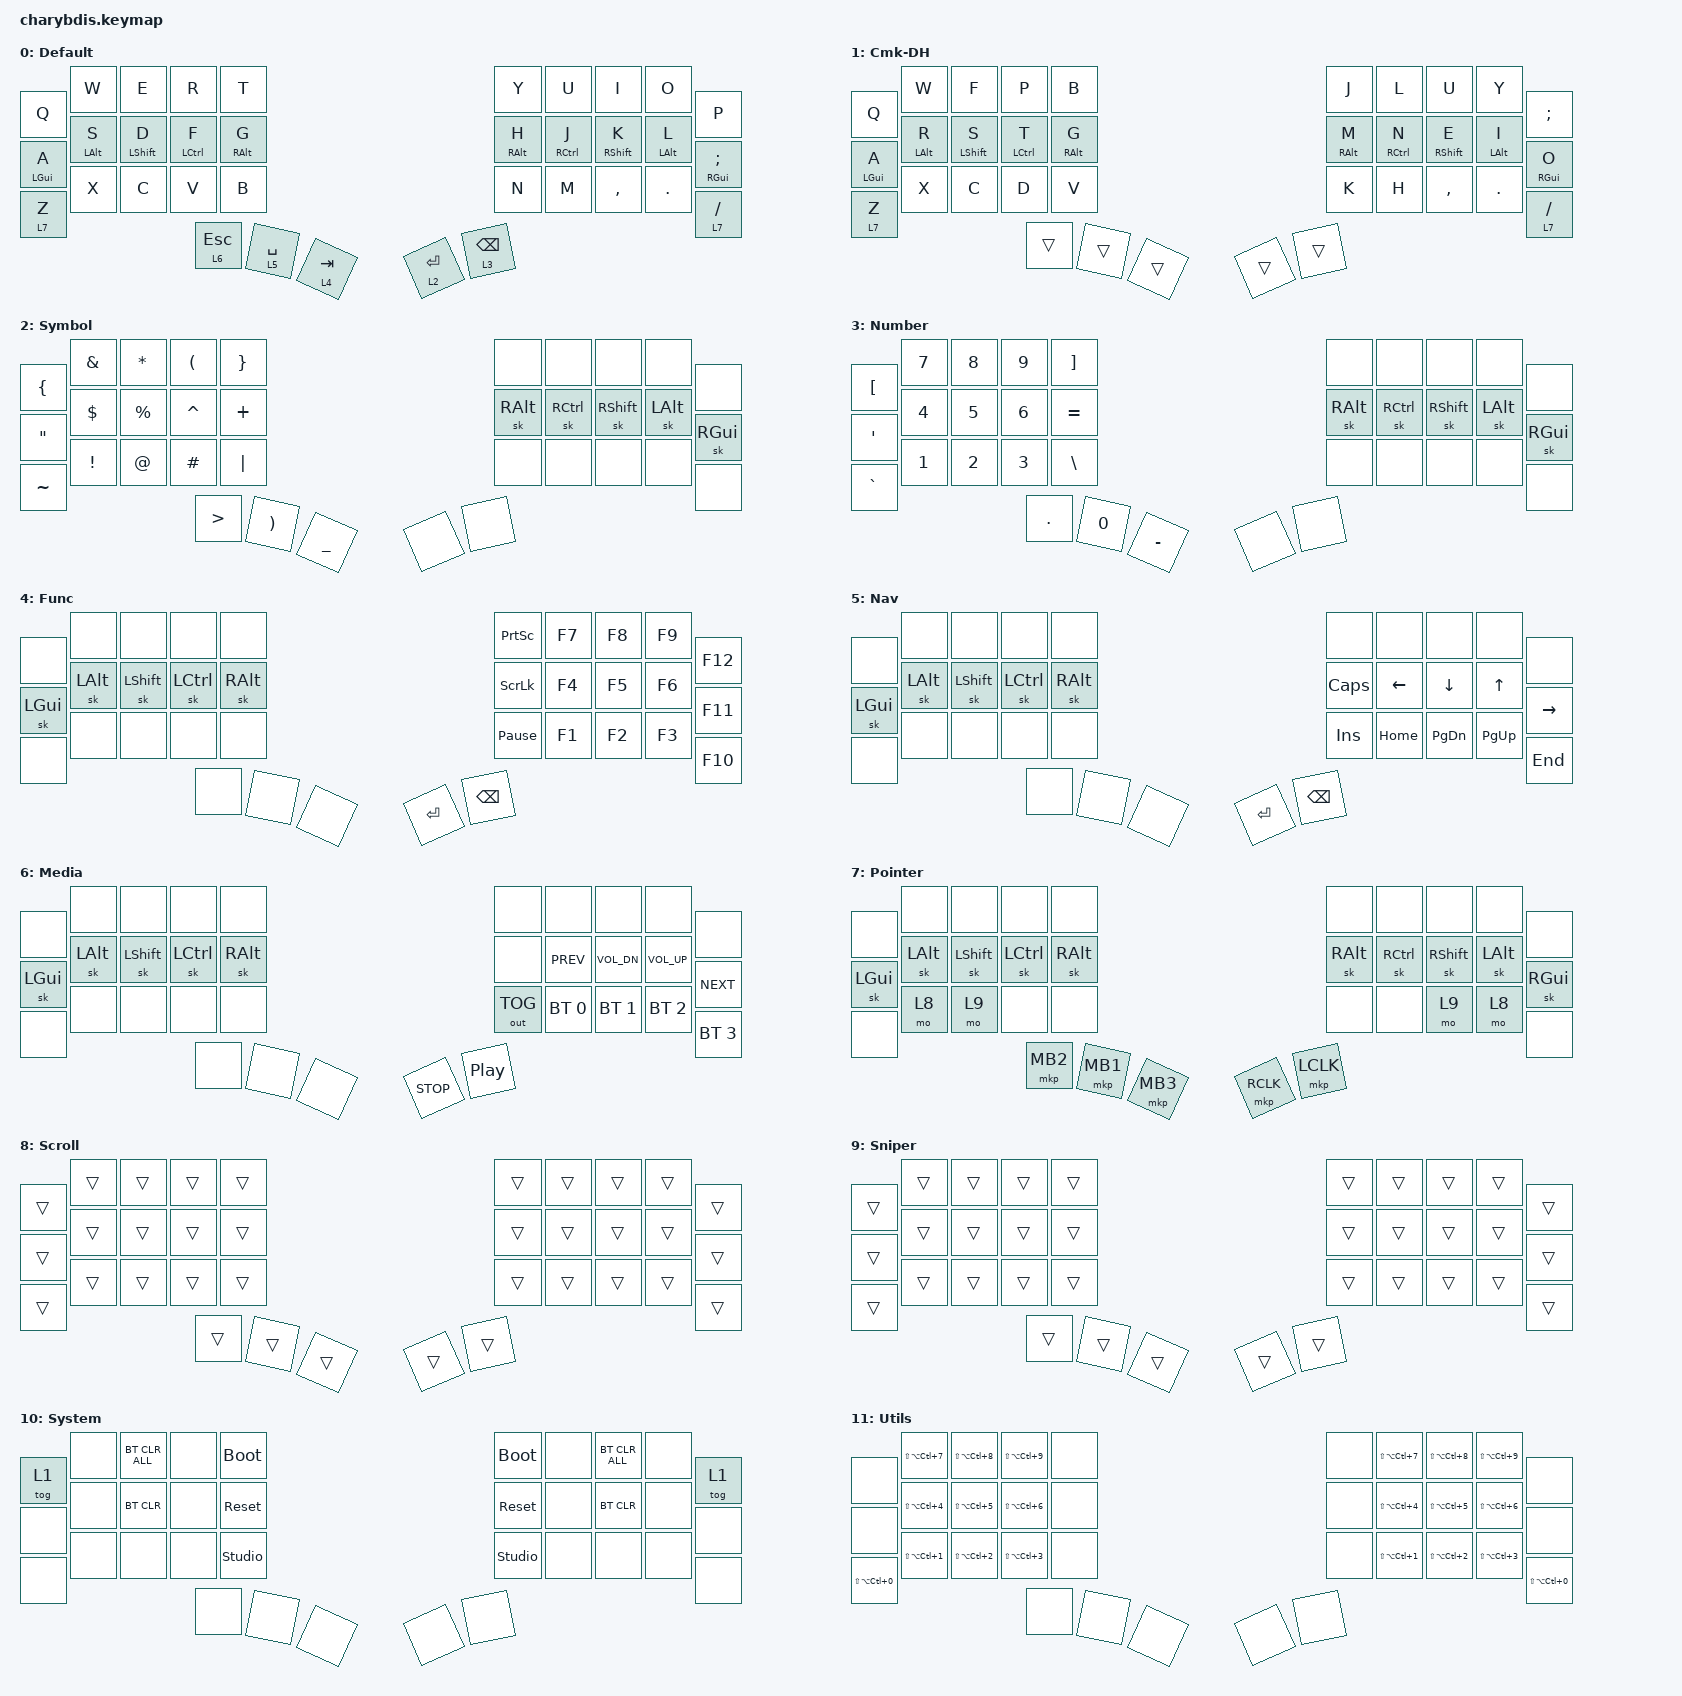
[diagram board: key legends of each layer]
#define ZMK_POINTING_DEFAULT_MOVE_VAL 1250
#define ZMK_POINTING_DEFAULT_SCRL_VAL 100
#define HT_PRIOR_IDLE 150
#define HT_TAPPING_TERM 280
#define HT_QUICK_TAP 175
#define KEYS_L_TOP  0  1  2  3  4
#define KEYS_R_TOP  5  6  7  8  9
#define KEYS_L_MID 10 11 12 13 14
#define KEYS_R_MID 15 16 17 18 19
#define KEYS_L_BTM 20 21 22 23 24
#define KEYS_R_BTM 25 26 27 28 29
#define KEYS_L_THUMB 30 31 32
#define KEYS_R_THUMB 33 34
#define KEYS_L KEYS_L_TOP KEYS_L_MID KEYS_L_BTM
#define KEYS_R KEYS_R_TOP KEYS_R_MID KEYS_R_BTM
#define KEYS_THUMBS KEYS_L_THUMB KEYS_R_THUMB

#include <behaviors.dtsi>
#include <dt-bindings/zmk/bt.h>
#include <dt-bindings/zmk/keys.h>
#include <dt-bindings/zmk/outputs.h>
#include <dt-bindings/zmk/pointing.h>

#include "utils/ruen.dtsi"

/ {
    behaviors {
        lt: layer_tap {
            compatible = "zmk,behavior-hold-tap";
            #binding-cells = <2>;
            flavor = "balanced";
            require-prior-idle-ms = <HT_PRIOR_IDLE>;
            tapping-term-ms = <HT_TAPPING_TERM>;
            quick-tap-ms = <HT_QUICK_TAP>;
            bindings = <&mo>, <&kp>;

            display-name = "Layer-Tap";
        };

        hm_l: homerow_mods_left {
            compatible = "zmk,behavior-hold-tap";
            #binding-cells = <2>;
            flavor = "balanced";
            require-prior-idle-ms = <HT_PRIOR_IDLE>;
            tapping-term-ms = <HT_TAPPING_TERM>;
            quick-tap-ms = <HT_QUICK_TAP>;
            bindings = <&kp>, <&kp>;

            hold-trigger-key-positions = <KEYS_R KEYS_THUMBS>;
            hold-trigger-on-release;
            display-name = "Mod-Tap Home-Mode Left";
        };

        hm_r: homerow_mods_right {
            compatible = "zmk,behavior-hold-tap";
            #binding-cells = <2>;
            flavor = "balanced";
            require-prior-idle-ms = <HT_PRIOR_IDLE>;
            tapping-term-ms = <HT_TAPPING_TERM>;
            quick-tap-ms = <HT_QUICK_TAP>;
            bindings = <&kp>, <&kp>;

            hold-trigger-key-positions = <KEYS_L KEYS_THUMBS>;
            hold-trigger-on-release;
            display-name = "Mod-Tap Home-Mode Right";
        };

        tog_on: toggle_layer_on_only {
            compatible = "zmk,behavior-toggle-layer";
            #binding-cells = <1>;
            display-name = "Toggle Layer On";
            toggle-mode = "on";
        };

        tog_off: toggle_layer_off_only {
            compatible = "zmk,behavior-toggle-layer";
            #binding-cells = <1>;
            display-name = "Toggle Layer Off";
            toggle-mode = "off";
        };

        bspc_del: backspace_delete {
            compatible = "zmk,behavior-mod-morph";
            #binding-cells = <0>;
            bindings = <&kp BSPC>, <&kp DEL>;
            mods = <(MOD_LSFT|MOD_RSFT)>;
            keep-mods = <(MOD_RSFT)>;

            display-name = "Backspace-Delete";
    };

        lt_bspc_del: layer_tap_backspace_delete {
            compatible = "zmk,behavior-hold-tap";
            #binding-cells = <2>;
            flavor = "balanced";
            require-prior-idle-ms = <HT_PRIOR_IDLE>;
            tapping-term-ms = <HT_TAPPING_TERM>;
            quick-tap-ms = <HT_QUICK_TAP>;
            bindings = <&mo>, <&bspc_del>;

            display-name = "Layer-Tap Backspace-Delete";
        };
    };

    combos {
        compatible = "zmk,combos";

        system_left {
            bindings = <&sl 10>;
            key-positions = <0 2 4>;
            layers = <0 1>;
        };

        system_right {
            bindings = <&sl 10>;
            key-positions = <5 7 9>;
            layers = <0 1>;
        };

        utils {
            bindings = <&sl 11>;
            key-positions = <0 9>;
            layers = <0 1>;
        };

        utils_l {
            bindings = <&sl 11>;
            key-positions = <0 10 20>;
            layers = <0 1>;
        };

        utils_r {
            bindings = <&sl 11>;
            key-positions = <9 19 29>;
            layers = <0 1>;
        };

        key_lbkt {
            bindings = <&kp LBKT>;
            key-positions = <2 3>;
            layers = <0 1>;
        };

        key_rbkt {
            bindings = <&kp RBKT>;
            key-positions = <6 7>;
            layers = <0 1>;
        };

        key_lbrc {
            bindings = <&kp LBRC>;
            key-positions = <22 23>;
            layers = <0 1>;
        };

        key_rbrc {
            bindings = <&kp RBRC>;
            key-positions = <26 27>;
            layers = <0 1>;
        };

        key_lt {
            bindings = <&kp LT>;
            key-positions = <1 2>;
            layers = <0 1>;
        };

        key_gt {
            bindings = <&kp GT>;
            key-positions = <7 8>;
            layers = <0 1>;
        };

        key_lpar {
            bindings = <&kp LPAR>;
            key-positions = <21 22>;
            layers = <0 1>;
        };

        key_rpar {
            bindings = <&kp RPAR>;
            key-positions = <27 28>;
            layers = <0 1>;
        };

        key_grave {
            bindings = <&kp GRAVE>;
            key-positions = <0 1>;
            layers = <0 1>;
        };

        key_bslh {
            bindings = <&kp BSLH>;
            key-positions = <8 9>;
            layers = <0 1>;
        };

        key_tilde {
            bindings = <&kp TILDE>;
            key-positions = <20 21>;
            layers = <0 1>;
        };

        key_pipe {
            bindings = <&kp PIPE>;
            key-positions = <28 29>;
            layers = <0 1>;
        };

        key_del {
            bindings = <&kp DEL>;
            key-positions = <33 34>;
            layers = <0 1>;
        };

        ruen_layer_en_qwerty {
            bindings = <&layer_en_qwerty>;
            key-positions = <4 5>;
            layers = <0 1>;
        };

        ruen_layer_en_colemak {
            bindings = <&layer_en_colemak>;
            key-positions = <14 15>;
            layers = <0 1>;
        };

        ruen_layer_ru_jcuken {
            bindings = <&layer_ru_jcuken>;
            key-positions = <24 25>;
            layers = <0 1>;
        };
    };

    keymap {
        compatible = "zmk,keymap";

        default_layer {
            display-name = "Default";
            bindings = <
&kp Q         &kp W         &kp E          &kp R          &kp T           &kp Y         &kp U          &kp I          &kp O         &kp P
&hm_l LGUI A  &hm_l LALT S  &hm_l LSHFT D  &hm_l LCTRL F  &hm_l RALT G    &hm_r RALT H  &hm_r RCTRL J  &hm_r RSHFT K  &hm_r LALT L  &hm_r RGUI SEMI
&lt 7 Z       &kp X         &kp C          &kp V          &kp B           &kp N         &kp M          &kp COMMA      &kp DOT       &lt 7 SLASH
                            &lt 6 ESC      &lt 5 SPACE    &lt 4 TAB       &lt 2 RET     &lt 3 BSPC
            >;
        };

        cmkdh_layer {
            display-name = "Cmk-DH";
            bindings = <
&kp Q         &kp W         &kp F          &kp P          &kp B           &kp J         &kp L          &kp U          &kp Y         &kp SEMI
&hm_l LGUI A  &hm_l LALT R  &hm_l LSHFT S  &hm_l LCTRL T  &hm_l RALT G    &hm_r RALT M  &hm_r RCTRL N  &hm_r RSHFT E  &hm_r LALT I  &hm_r RGUI O
&lt 7 Z       &kp X         &kp C          &kp D          &kp V           &kp K         &kp H          &kp COMMA      &kp DOT       &lt 7 SLASH
                            &trans         &trans         &trans          &trans        &trans
            >;
        };

        symbol_layer {
            display-name = "Symbol";
            bindings = <
&kp LBRC   &kp AMPS  &kp ASTRK  &kp LPAR   &kp RBRC     &none     &none      &none      &none     &none
&kp DQT    &kp DLLR  &kp PRCNT  &kp CARET  &kp PLUS     &sk RALT  &sk RCTRL  &sk RSHFT  &sk LALT  &sk RGUI
&kp TILDE  &kp EXCL  &kp AT     &kp HASH   &kp PIPE     &none     &none      &none      &none     &none
                     &kp GT     &kp RPAR   &kp UNDER    &none     &none
            >;
        };

        number_layer {
            display-name = "Number";
            bindings = <
&kp LBKT   &kp N7  &kp N8   &kp N9  &kp RBKT     &none     &none      &none      &none     &none
&kp SQT    &kp N4  &kp N5   &kp N6  &kp EQUAL    &sk RALT  &sk RCTRL  &sk RSHFT  &sk LALT  &sk RGUI
&kp GRAVE  &kp N1  &kp N2   &kp N3  &kp BSLH     &none     &none      &none      &none     &none
                   &kp DOT  &kp N0  &kp MINUS    &none     &none
            >;
        };

        func_layer {
            display-name = "Func";
            bindings = <
&none     &none     &none      &none      &none       &kp PSCRN        &kp F7         &kp F8  &kp F9  &kp F12
&sk LGUI  &sk LALT  &sk LSHFT  &sk LCTRL  &sk RALT    &kp SLCK         &kp F4         &kp F5  &kp F6  &kp F11
&none     &none     &none      &none      &none       &kp PAUSE_BREAK  &kp F1         &kp F2  &kp F3  &kp F10
                    &none      &none      &none       &kp RET          &kp BACKSPACE
            >;
        };

        nav_layer {
            display-name = "Nav";
            bindings = <
&none     &none     &none      &none      &none       &none     &none          &none      &none      &none
&sk LGUI  &sk LALT  &sk LSHFT  &sk LCTRL  &sk RALT    &kp CAPS  &kp LEFT       &kp DOWN   &kp UP     &kp RIGHT
&none     &none     &none      &none      &none       &kp INS   &kp HOME       &kp PG_DN  &kp PG_UP  &kp END
                    &none      &none      &none       &kp RET   &kp BACKSPACE
            >;
        };

        media_layer {
            display-name = "Media";
            bindings = <
&none     &none     &none      &none      &none       &none         &none         &none         &none         &none
&sk LGUI  &sk LALT  &sk LSHFT  &sk LCTRL  &sk RALT    &none         &kp C_PREV    &kp C_VOL_DN  &kp C_VOL_UP  &kp C_NEXT
&none     &none     &none      &none      &none       &out OUT_TOG  &bt BT_SEL 0  &bt BT_SEL 1  &bt BT_SEL 2  &bt BT_SEL 3
                    &none      &none      &none       &kp C_STOP    &kp C_PP
            >;
        };

        pointer_layer {
            display-name = "Pointer";
            bindings = <
&none     &none     &none      &none      &none       &none      &none      &none      &none     &none
&sk LGUI  &sk LALT  &sk LSHFT  &sk LCTRL  &sk RALT    &sk RALT   &sk RCTRL  &sk RSHFT  &sk LALT  &sk RGUI
&none     &mo 8     &mo 9      &none      &none       &none      &none      &mo 9      &mo 8     &none
                    &mkp MB2   &mkp MB1   &mkp MB3    &mkp RCLK  &mkp LCLK
            >;
        };

        scroll_layer {
            display-name = "Scroll";
            bindings = <
&trans  &trans  &trans  &trans  &trans    &trans  &trans  &trans  &trans  &trans
&trans  &trans  &trans  &trans  &trans    &trans  &trans  &trans  &trans  &trans
&trans  &trans  &trans  &trans  &trans    &trans  &trans  &trans  &trans  &trans
                &trans  &trans  &trans    &trans  &trans
            >;
        };

        sniper_layer {
            display-name = "Sniper";
            bindings = <
&trans  &trans  &trans  &trans  &trans    &trans  &trans  &trans  &trans  &trans
&trans  &trans  &trans  &trans  &trans    &trans  &trans  &trans  &trans  &trans
&trans  &trans  &trans  &trans  &trans    &trans  &trans  &trans  &trans  &trans
                &trans  &trans  &trans    &trans  &trans
            >;
        };

        system_layer {
            display-name = "System";
            bindings = <
&tog 1  &none  &bt BT_CLR_ALL  &none  &bootloader       &bootloader     &none  &bt BT_CLR_ALL  &none  &tog 1
&none   &none  &bt BT_CLR      &none  &sys_reset        &sys_reset      &none  &bt BT_CLR      &none  &none
&none   &none  &none           &none  &studio_unlock    &studio_unlock  &none  &none           &none  &none
               &none           &none  &none             &none           &none
            >;
        };

        utils_layer {
            display-name = "Utils";
            bindings = <
&none               &kp LS(LA(LC(N7)))  &kp LS(LA(LC(N8)))  &kp LS(LA(LC(N9)))  &none    &none  &kp LS(LA(LC(N7)))  &kp LS(LA(LC(N8)))  &kp LS(LA(LC(N9)))  &none
&none               &kp LS(LA(LC(N4)))  &kp LS(LA(LC(N5)))  &kp LS(LA(LC(N6)))  &none    &none  &kp LS(LA(LC(N4)))  &kp LS(LA(LC(N5)))  &kp LS(LA(LC(N6)))  &none
&kp LS(LA(LC(N0)))  &kp LS(LA(LC(N1)))  &kp LS(LA(LC(N2)))  &kp LS(LA(LC(N3)))  &none    &none  &kp LS(LA(LC(N1)))  &kp LS(LA(LC(N2)))  &kp LS(LA(LC(N3)))  &kp LS(LA(LC(N0)))
                                        &none               &none               &none    &none  &none
            >;
        };

        extra1 { status = "reserved"; };

        extra2 { status = "reserved"; };
    };
};
